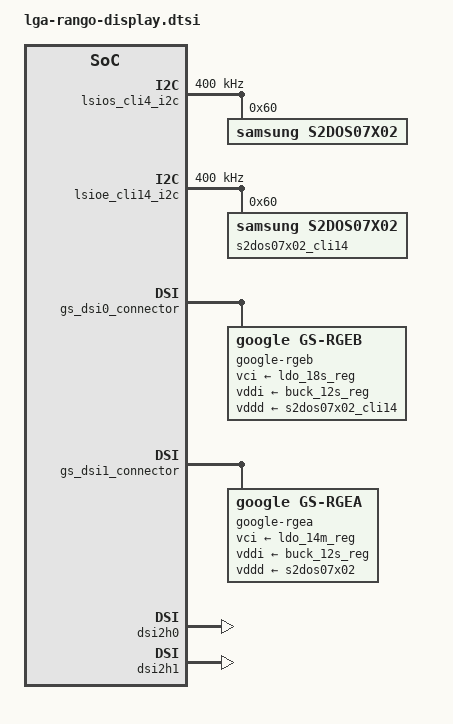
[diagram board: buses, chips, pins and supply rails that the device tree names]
// SPDX-License-Identifier: GPL-2.0-only

#include <dt-bindings/gpio/gpio.h>

&lsios_cli4_i2c {
	status = "okay";
	#address-cells = <1>;
	#size-cells = <0>;
	clock-frequency = <400000>;
	s2dos07x02: s2dos07x02@60 {
		compatible = "samsung,s2dos07x02";
		reg = <0x60>;
		status = "okay";
		regulator-name = "s2dos07x02-pmic";
		regulator-max-microvolt = <2100000>;
		regulator-min-microvolt = <850000>;
	};
};

&lsioe_cli14_i2c {
	status = "okay";
	#address-cells = <1>;
	#size-cells = <0>;
	clock-frequency = <400000>;
	s2dos07x02_cli14: s2dos07x02@60 {
		compatible = "samsung,s2dos07x02";
		reg = <0x60>;
		status = "okay";
		regulator-name = "s2dos07x02-pmic";
		regulator-max-microvolt = <2100000>;
		regulator-min-microvolt = <850000>;
	};
};

&gs_dsi0_connector {
	google,preferred-panel = <&google_gs_rgeb>;
	/* 0: primary, 1: secondary */
	google,device-index = <1>;

	google_gs_rgeb: panel-gs-rgeb {
		compatible = "google,gs-rgeb";
		label = "google-rgeb";
		channel = <0>;
		allowed-hs-clks = <865 756>;

		/* reset, power */
		reset-gpios = <PMICS2DISP0_RESET_L(GPIO_ACTIVE_HIGH)>;
		vci-supply = <&ldo_18s_reg>;
		vddi-supply = <&buck_12s_reg>;
		vddd-supply = <&s2dos07x02_cli14>;
		vddd-normal-microvolt = <1000000>;
		vddd-lp-microvolt    = <962500>;
    };
};

&gs_dsi1_connector {
	google,preferred-panel = <&google_gs_rgea>;
	/* 0: primary, 1: secondary */
	google,device-index = <0>;

	google_gs_rgea: panel-gs-rgea {
		compatible = "google,gs-rgea";
		label = "google-rgea";
		channel = <0>;
		/* 0: normal, 1: bottom up, 2: left up, 3: right up */
		orientation = <2>;
		allowed-hs-clks = <1388 1468>;

		/* reset, power */
		reset-gpios = <PMICS2DISP1_RESET_L(GPIO_ACTIVE_HIGH)>;
		vci-supply = <&ldo_14m_reg>;
		vddi-supply = <&buck_12s_reg>;
		vddd-supply = <&s2dos07x02>;
		vddd-normal-microvolt = <850000>;
	};
};

&dsi2h0 {
	status = "ok";
	datarate = <865>;
};

&dsi2h1 {
	status = "ok";
	datarate = <1468>;
};

